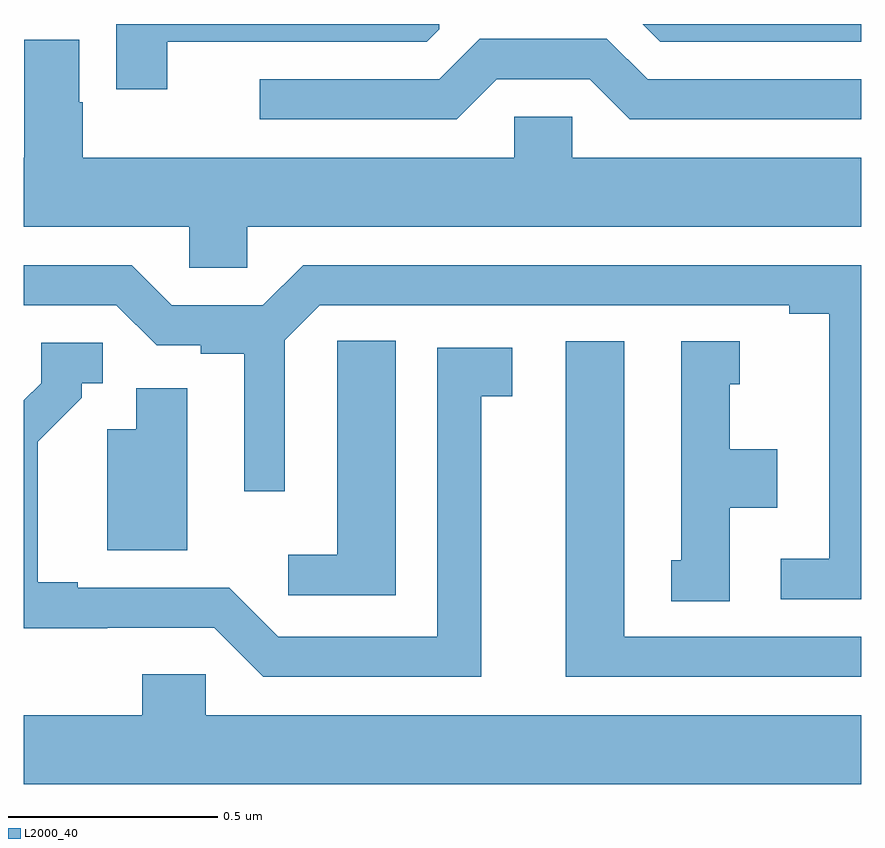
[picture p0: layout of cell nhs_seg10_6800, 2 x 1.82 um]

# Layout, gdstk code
import gdstk
lib = gdstk.Library(unit=1e-6, precision=1e-09)
def P(c, l, *ps):  # polygons
    for p in ps: c.add(gdstk.Polygon(p, *l))
L2000_40 = (2000, 40)

nhs_seg10_6800 = lib.new_cell('nhs_seg10_6800')
P(nhs_seg10_6800, L2000_40, [(198,1267.5),(197.478,1267.5),(197.52,1267.458),(198,1267.458)],
  [(196.342,1267.458),(196.962,1267.458),(196.992,1267.488),(196.992,1267.5),(196.22,1267.5),(196.22,1267.344),(196.342,1267.344)],
  [(197.13,1267.368),(197.352,1267.368),(197.448,1267.272),(198,1267.272),(198,1267.368),(197.49,1267.368),(197.393,1267.465),(197.089,1267.465),(196.992,1267.368),(196.563,1267.368),(196.563,1267.272),(197.034,1267.272)],
  [(196.395,1266.918),(196.533,1266.918),(196.533,1267.016),(198,1267.016),(198,1267.18),(197.31,1267.18),(197.31,1267.278),(197.172,1267.278),(197.172,1267.18),(196.14,1267.18),(196.14,1267.313),(196.132,1267.313),(196.132,1267.462),(196.001,1267.462),(196.001,1267.18),(196,1267.18),(196,1267.016),(196.395,1267.016)],
  [(198,1266.924),(196.667,1266.924),(196.571,1266.828),(196.353,1266.828),(196.257,1266.924),(196,1266.924),(196,1266.828),(196.221,1266.828),(196.317,1266.732),(196.422,1266.732),(196.422,1266.712),(196.526,1266.712),(196.526,1266.384),(196.623,1266.384),(196.623,1266.744),(196.707,1266.828),(197.828,1266.828),(197.828,1266.808),(197.924,1266.808),(197.924,1266.222),(197.808,1266.222),(197.808,1266.126),(198,1266.126)],
  [(196.888,1266.743),(196.749,1266.743),(196.749,1266.635),(196.748,1266.635),(196.748,1266.232),(196.632,1266.232),(196.632,1266.135),(196.888,1266.135)],
  [(197.686,1266.344),(197.8,1266.344),(197.8,1266.484),(197.686,1266.484),(197.686,1266.639),(197.71,1266.639),(197.71,1266.742),(197.57,1266.742),(197.57,1266.219),(197.546,1266.219),(197.546,1266.121),(197.686,1266.121)],
  [(198,1266.036),(197.434,1266.036),(197.434,1266.742),(197.294,1266.742),(197.294,1265.94),(198,1265.94)],
  [(197.092,1266.61),(197.167,1266.61),(197.167,1266.726),(196.988,1266.726),(196.988,1266.036),(196.608,1266.036),(196.491,1266.153),(196.129,1266.153),(196.129,1266.166),(196.033,1266.166),(196.033,1266.502),(196.138,1266.607),(196.138,1266.642),(196.188,1266.642),(196.188,1266.738),(196.041,1266.738),(196.041,1266.642),(196,1266.601),(196,1266.056),(196.199,1266.056),(196.199,1266.057),(196.455,1266.057),(196.572,1265.94),(197.092,1265.94)],
  [(196.39,1266.63),(196.268,1266.63),(196.268,1266.532),(196.199,1266.532),(196.199,1266.242),(196.39,1266.242)],
  [(198,1265.848),(196.434,1265.848),(196.434,1265.946),(196.283,1265.946),(196.283,1265.848),(196,1265.848),(196,1265.684),(198,1265.684)])

lib.write_gds('nhs_seg10_6800.gds')
